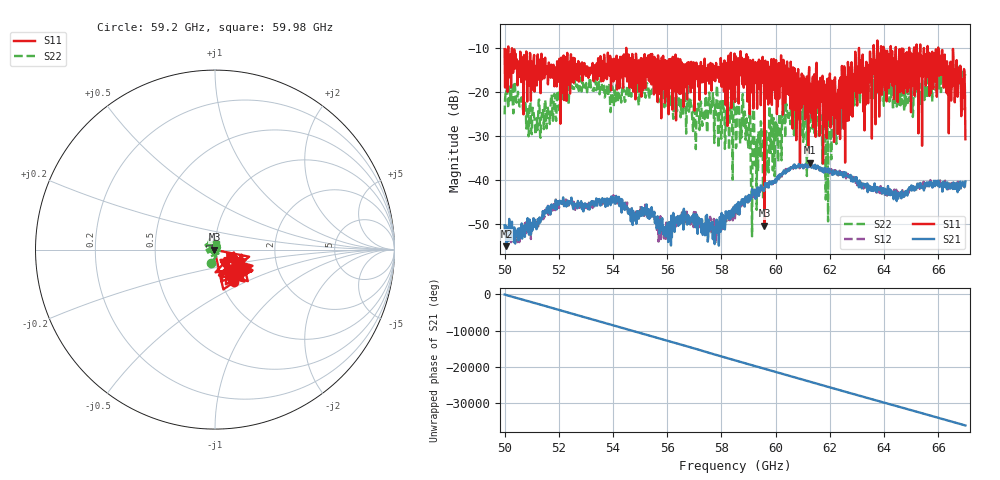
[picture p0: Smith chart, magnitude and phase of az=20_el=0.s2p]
!Created with skrf (http://scikit-rf.org).
# GHz S RI R 50.0
!freq ReS11 ImS11 ReS21 ImS21 ReS12 ImS12 ReS22 ImS22
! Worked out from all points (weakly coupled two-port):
!   1001 points, 50 GHz to 67 GHz, reference 50 ohm
!   highest |S21| = -36.03 dB at 61.27 GHz (marker M1); lowest = -55.0 dB at 50.07 GHz (marker M2)
!   lowest |S11| = -50.3 dB at 59.59 GHz (marker M3), VSWR 1.01, Z = 49.7 - j0.119 ohm
!   |S11| at or under -10 dB: 50.27 GHz to 54.49 GHz (4.215 GHz wide, 8.05 % of centre); 54.49 GHz to 63.07 GHz (8.584 GHz wide, 14.6 % of centre); 66 GHz to end of sweep (the widest 3 of 18)
!   |S22| runs from -52.8 to -13.9 dB; largest |S21 - S12| = 0.0024
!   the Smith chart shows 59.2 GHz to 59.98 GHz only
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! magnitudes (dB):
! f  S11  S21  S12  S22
! 50 GHz  -10.1  -50.3  -51.3  -25.0
! 50.07 GHz  -12.0  -55.0  -52.4  -20.3
! 51.16 GHz  -13.9  -50.6  -49.5  -27.5
! 52.84 GHz  -14.2  -45.5  -46.4  -19.8
! 54.1 GHz  -16.9  -44.3  -44.2  -22.0
! 55.68 GHz  -13.5  -50.4  -54.0  -22.2
! 57.82 GHz  -15.9  -49.0  -50.4  -19.5
! 58.5 GHz  -22.2  -45.7  -48.7  -23.3
! 58.86 GHz  -17.3  -46.0  -44.3  -24.3
! 59.06 GHz  -12.7  -43.5  -44.2  -25.4
! 59.59 GHz  -50.3  -41.6  -40.7  -30.0
! 60.64 GHz  -14.3  -37.1  -37.4  -22.6
! 61.27 GHz  -18.0  -36.0  -36.9  -27.7
! 61.34 GHz  -25.8  -36.5  -36.6  -25.7
! 61.88 GHz  -30.4  -38.1  -37.6  -23.1
! 62.53 GHz  -14.1  -38.5  -38.8  -19.2
! 63.01 GHz  -23.0  -40.7  -41.1  -19.9
! 63.33 GHz  -22.8  -41.3  -41.1  -19.4
! 64.18 GHz  -19.0  -42.6  -43.0  -18.5
! 66.08 GHz  -15.8  -40.9  -41.6  -15.6
! 66.75 GHz  -18.0  -40.9  -40.9  -18.5
! 67 GHz  -30.7  -40.3  -41.7  -15.8
